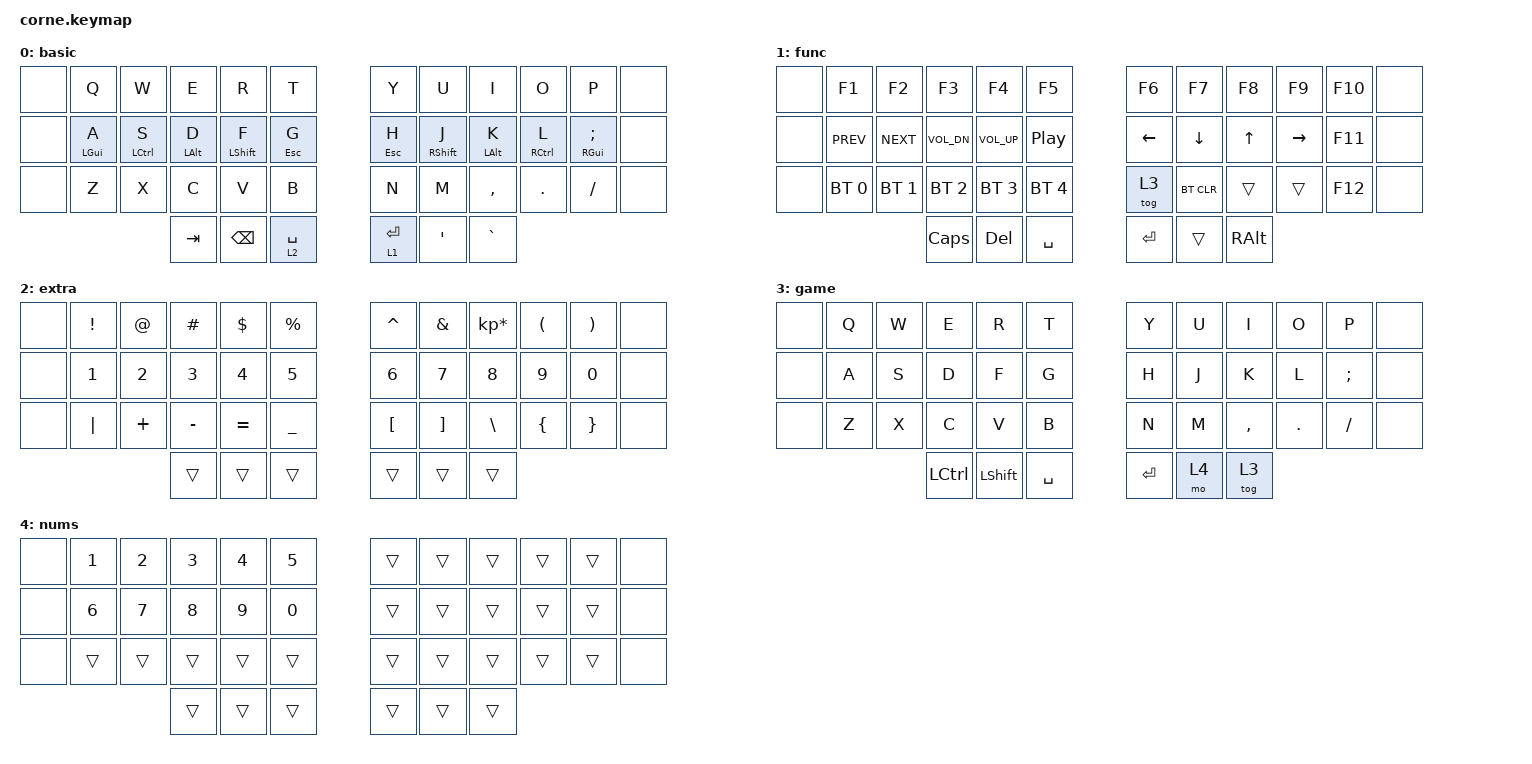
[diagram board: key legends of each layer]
/*
 * Copyright (c) 2020 The ZMK Contributors
 *
 * SPDX-License-Identifier: MIT
 */

#include <behaviors.dtsi>
#include <dt-bindings/zmk/bt.h>
#include <dt-bindings/zmk/keys.h>

/ {
    behaviors {
        bhm: balanced_homerow_mods {
            compatible = "zmk,behavior-hold-tap";
            label = "HOMEROW_MODS";
            #binding-cells = <2>;
            tapping-term-ms = <145>;    // <---[[moderate duration]]
            quick-tap-ms = <0>;
            flavor = "balanced";
            bindings = <&kp>, <&kp>;
        };
    };

    keymap {
        compatible = "zmk,keymap";

        basic {
            bindings = <
&none  &kp Q        &kp W         &kp E        &kp R          &kp T          &kp Y       &kp U          &kp I        &kp O         &kp P           &none
&none  &bhm LGUI A  &bhm LCTRL S  &bhm LALT D  &bhm LSHIFT F  &bhm ESC G     &bhm ESC H  &bhm RSHIFT J  &bhm LALT K  &bhm RCTRL L  &bhm RGUI SEMI  &none
&none  &kp Z        &kp X         &kp C        &kp V          &kp B          &kp N       &kp M          &kp COMMA    &kp DOT       &kp FSLH        &none
                                  &kp TAB      &kp BSPC       &lt 2 SPACE    &lt 1 RET   &kp SQT        &kp GRAVE
            >;
        };

        func {
            bindings = <
&none  &kp F1        &kp F2        &kp F3        &kp F4        &kp F5          &kp F6    &kp F7     &kp F8    &kp F9     &kp F10  &none
&none  &kp C_PREV    &kp C_NEXT    &kp C_VOL_DN  &kp C_VOL_UP  &kp C_PP        &kp LEFT  &kp DOWN   &kp UP    &kp RIGHT  &kp F11  &none
&none  &bt BT_SEL 0  &bt BT_SEL 1  &bt BT_SEL 2  &bt BT_SEL 3  &bt BT_SEL 4    &tog 3    &bt BT_CLR &trans    &trans     &kp F12  &none
                                   &kp CAPS      &kp DEL       &kp SPACE       &kp RET   &trans     &kp RALT
            >;
        };

        extra {
            bindings = <
&none  &kp EXCL  &kp AT    &kp HASH   &kp DLLR   &kp PRCNT    &kp CARET  &kp AMPS  &kp KP_MULTIPLY  &kp LPAR  &kp RPAR  &none
&none  &kp N1    &kp N2    &kp N3     &kp N4     &kp N5       &kp N6     &kp N7    &kp N8           &kp N9    &kp N0    &none
&none  &kp PIPE  &kp PLUS  &kp MINUS  &kp EQUAL  &kp UNDER    &kp LBKT   &kp RBKT  &kp BSLH         &kp LBRC  &kp RBRC  &none
                           &trans     &trans     &trans       &trans     &trans    &trans
            >;
        };

        game {
            bindings = <
&none  &kp Q  &kp W  &kp E            &kp R             &kp T        &kp Y      &kp U  &kp I      &kp O    &kp P     &none
&none  &kp A  &kp S  &kp D            &kp F             &kp G        &kp H      &kp J  &kp K      &kp L    &kp SEMI  &none
&none  &kp Z  &kp X  &kp C            &kp V             &kp B        &kp N      &kp M  &kp COMMA  &kp DOT  &kp FSLH  &none
                     &kp LEFT_CONTROL &kp LEFT_SHIFT    &kp SPACE    &kp ENTER  &mo 4  &tog 3
            >;
        };

        nums {
            bindings = <
&none  &kp N1  &kp N2  &kp N3  &kp N4  &kp N5    &trans  &trans  &trans  &trans  &trans  &none
&none  &kp N6  &kp N7  &kp N8  &kp N9  &kp N0    &trans  &trans  &trans  &trans  &trans  &none
&none  &trans  &trans  &trans  &trans  &trans    &trans  &trans  &trans  &trans  &trans  &none
                       &trans  &trans  &trans    &trans  &trans  &trans
            >;
        };
    };
};
